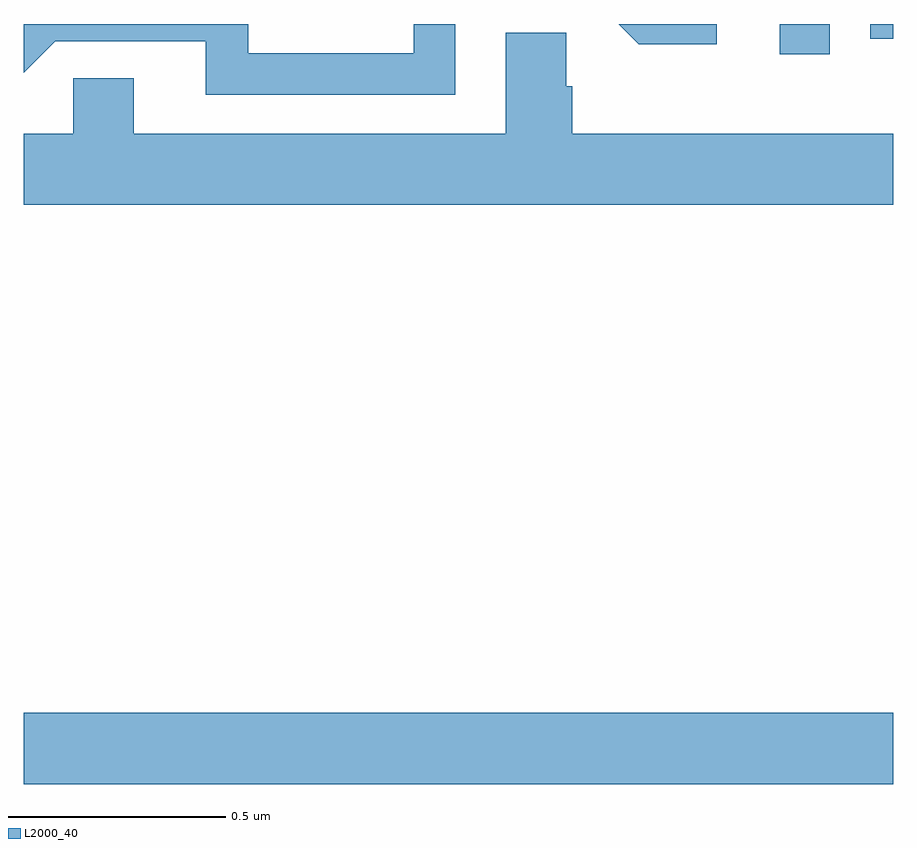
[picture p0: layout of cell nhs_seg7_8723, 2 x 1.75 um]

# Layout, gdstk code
import gdstk
lib = gdstk.Library(unit=1e-6, precision=1e-09)
def R(c, l, rs):  # rectangles x0, y0, x1, y1
    for r in rs: c.add(gdstk.rectangle(r[:2], r[2:], *l))
def P(c, l, *ps):  # polygons
    for p in ps: c.add(gdstk.Polygon(p, *l))
L2000_40 = (2000, 40)

nhs_seg7_8723 = lib.new_cell('nhs_seg7_8723')
R(nhs_seg7_8723, L2000_40, [(228,1031.252,230,1031.416), (229.739,1032.93,229.854,1033), (229.947,1032.966,230,1033)])
P(nhs_seg7_8723, L2000_40, [(229.594,1033),(229.368,1033),(229.415,1032.953),(229.594,1032.953)],
  [(228.993,1033),(228.897,1033),(228.897,1032.933),(228.516,1032.933),(228.516,1033),(228,1033),(228,1032.888),(228.072,1032.96),(228.419,1032.96),(228.419,1032.837),(228.993,1032.837)],
  [(230,1032.748),(229.262,1032.748),(229.262,1032.857),(229.248,1032.857),(229.248,1032.98),(229.109,1032.98),(229.109,1032.748),(228.253,1032.748),(228.253,1032.875),(228.114,1032.875),(228.114,1032.748),(228,1032.748),(228,1032.584),(230,1032.584)])

lib.write_gds('nhs_seg7_8723.gds')
